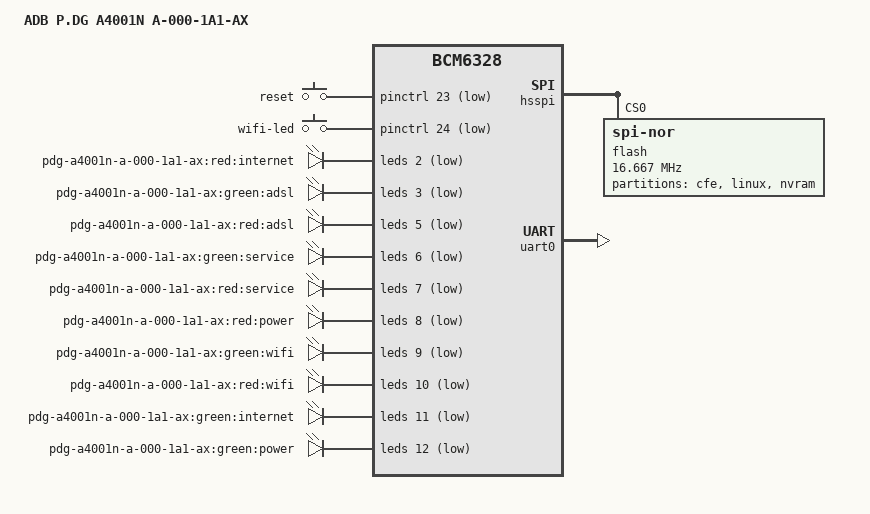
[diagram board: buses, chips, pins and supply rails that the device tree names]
// SPDX-License-Identifier: GPL-2.0-or-later OR MIT

/dts-v1/;

#include "bcm6328.dtsi"

#include <dt-bindings/input/input.h>

/ {
	model = "ADB P.DG A4001N A-000-1A1-AX";
	compatible = "adb,pdg-a4001n-a-000-1a1-ax", "brcm,bcm6328";

	aliases {
		led-boot = &led_power_green;
		led-failsafe = &led_power_green;
		led-running = &led_power_green;
		led-upgrade = &led_power_green;
	};

	chosen {
		bootargs = "rootfstype=squashfs,jffs2 noinitrd console=ttyS0,115200";
		stdout-path = "serial0:115200n8";
	};

	keys {
		compatible = "gpio-keys-polled";
		#address-cells = <1>;
		#size-cells = <0>;
		poll-interval = <20>;

		reset {
			label = "reset";
			gpios = <&pinctrl 23 1>;
			linux,code = <KEY_RESTART>;
			debounce-interval = <60>;
		};

		wps {
			label = "wifi-led";
			gpios = <&pinctrl 24 1>;
			linux,code = <KEY_WPS_BUTTON>;
			debounce-interval = <60>;
		};
	};
};

&leds {
	status = "okay";

	pinctrl-names = "default";
	pinctrl-0 = <&pinctrl_leds>;

	led@2 {
		reg = <2>;
		active-low;
		label = "pdg-a4001n-a-000-1a1-ax:red:internet";
	};

	led@3 {
		reg = <3>;
		active-low;
		label = "pdg-a4001n-a-000-1a1-ax:green:adsl";
	};

	led@5 {
		reg = <5>;
		active-low;
		label = "pdg-a4001n-a-000-1a1-ax:red:adsl";
	};

	led@6 {
		reg = <6>;
		active-low;
		label = "pdg-a4001n-a-000-1a1-ax:green:service";
	};

	led@7 {
		reg = <7>;
		active-low;
		label = "pdg-a4001n-a-000-1a1-ax:red:service";
	};

	led@8 {
		reg = <8>;
		active-low;
		label = "pdg-a4001n-a-000-1a1-ax:red:power";
	};

	led@9 {
		reg = <9>;
		active-low;
		label = "pdg-a4001n-a-000-1a1-ax:green:wifi";
	};

	led@10 {
		reg = <10>;
		active-low;
		label = "pdg-a4001n-a-000-1a1-ax:red:wifi";
	};

	led@11 {
		reg = <11>;
		active-low;
		label = "pdg-a4001n-a-000-1a1-ax:green:internet";
	};

	led_power_green: led@12 {
		reg = <12>;
		active-low;
		label = "pdg-a4001n-a-000-1a1-ax:green:power";
		default-state = "on";
	};
};

&hsspi {
	status = "okay";

	flash@0 {
		compatible = "jedec,spi-nor";
		spi-max-frequency = <16666667>;
		spi-tx-bus-width = <2>;
		spi-rx-bus-width = <2>;
		reg = <0>;

		#address-cells = <1>;
		#size-cells = <1>;

		partitions {
			compatible = "fixed-partitions";
			#address-cells = <1>;
			#size-cells = <1>;

			partition@0 {
				reg = <0x000000 0x010000>;
				label = "cfe";
				read-only;
			};

			partition@10000 {
				reg = <0x010000 0xfe0000>;
				label = "linux";
				compatible = "brcm,bcm963xx-imagetag";
			};

			partition@ff0000 {
				reg = <0xff0000 0x010000>;
				label = "nvram";
			};
		};
	};
};

&pinctrl {
	pinctrl_leds: leds {
		function = "led";
		pins = "gpio2", "gpio3",
		       "gpio5", "gpio6",
		       "gpio7", "gpio8",
		       "gpio9", "gpio10",
		       "gpio11", "gpio12";
	};
};

&uart0 {
	status = "okay";
};
